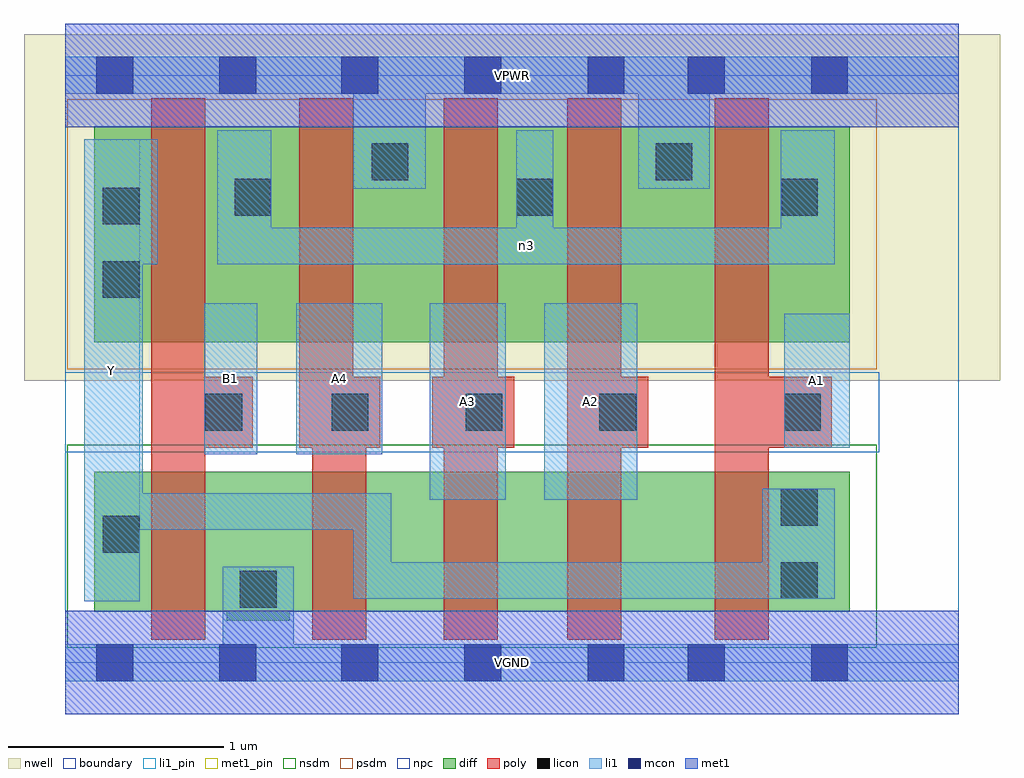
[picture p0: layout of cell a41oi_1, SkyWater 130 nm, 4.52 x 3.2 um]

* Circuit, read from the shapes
.subckt a41oi_1 A1 A2 A3 A4 B1 VGND VPWR Y n3
XM1 VGND B1 Y VSUBS sky130_fd_pr__nfet_01v8 w=0.65 l=0.25
XM2 n1 A4 VGND VSUBS sky130_fd_pr__nfet_01v8 w=0.65 l=0.25
XM3 n2 A3 n1 VSUBS sky130_fd_pr__nfet_01v8 w=0.65 l=0.25
XM4 n4 A2 n2 VSUBS sky130_fd_pr__nfet_01v8 w=0.65 l=0.25
XM5 Y A1 n4 VSUBS sky130_fd_pr__nfet_01v8 w=0.65 l=0.25
XM6 n3 B1 Y n5 sky130_fd_pr__pfet_01v8 w=1 l=0.25
XM7 VPWR A4 n3 n5 sky130_fd_pr__pfet_01v8 w=1 l=0.25
XM8 n3 A3 VPWR n5 sky130_fd_pr__pfet_01v8 w=1 l=0.25
XM9 VPWR A2 n3 n5 sky130_fd_pr__pfet_01v8 w=1 l=0.25
XM10 n3 A1 VPWR n5 sky130_fd_pr__pfet_01v8 w=1 l=0.25
.ends

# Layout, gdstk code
import gdstk
lib = gdstk.Library(unit=1e-6, precision=1e-09)
def R(c, l, rs):  # rectangles x0, y0, x1, y1
    for r in rs: c.add(gdstk.rectangle(r[:2], r[2:], *l))
def A(c, l, x, y, w, h, nx, ny, dx, dy):  # array of equal rectangles
    R(c, l, [(x+i*dx, y+j*dy, x+i*dx+w, y+j*dy+h) for i in range(nx) for j in range(ny)])
nwell = (64, 20)
diff = (65, 20)
poly = (66, 20)
licon = (66, 44)
li1_pin = (67, 16)
li1 = (67, 20)
mcon = (67, 44)
met1_pin = (68, 16)
met1 = (68, 20)
nsdm = (93, 44)
psdm = (94, 20)
npc = (95, 20)
boundary = (235, 4)

a41oi_1 = lib.new_cell('a41oi_1')
R(a41oi_1, nwell, [(-0.19,1.305,4.33,2.91), (0,1.305,4.14,2.91)])
R(a41oi_1, diff, [(0.75,0.195,1.04,0.885), (0.135,0.235,3.635,0.885), (0.135,1.485,3.635,2.485)])
R(a41oi_1, poly, [(0.4,0.105,0.65,2.615), (1.145,0.105,1.395,1.325), (1.755,0.105,2.005,2.615), (2.325,0.105,2.575,2.615), (3.01,0.105,3.26,2.615), (0.4,0.995,0.87,1.325), (1.085,0.995,1.335,2.615), (1.085,0.995,1.46,1.325), (1.7,0.995,2.08,1.325), (2.325,0.995,2.7,1.325), (3.01,0.995,3.55,1.325)])
A(a41oi_1, licon, 1.235, 1.075, 0.17, 0.17, 3, 1, 0.62, 0)
R(a41oi_1, licon, [(0.81,0.255,0.98,0.425), (3.315,0.295,3.485,0.465), (0.175,0.51,0.345,0.68), (3.315,0.635,3.485,0.805), (0.65,1.075,0.82,1.245), (3.33,1.075,3.5,1.245), (0.175,1.69,0.345,1.86), (0.175,2.03,0.345,2.2), (0.785,2.07,0.955,2.24), (2.09,2.07,2.26,2.24), (3.315,2.07,3.485,2.24), (1.42,2.235,1.59,2.405), (2.735,2.235,2.905,2.405)])
R(a41oi_1, li1_pin, [(0.09,0.285,0.345,2.425), (1.69,0.755,2.04,1.665), (2.22,0.755,2.65,1.665), (0.645,0.965,0.89,1.665), (1.07,0.965,1.47,1.665), (3.33,0.995,3.635,1.615)])
R(a41oi_1, li1, [(0,-0.085,4.14,0.085), (0.73,-0.085,1.06,0.445), (0.09,0.285,0.345,2.425), (1.335,0.295,3.565,0.465), (1.335,0.295,1.51,0.785), (3.23,0.295,3.565,0.805), (0.09,0.615,1.51,0.785), (0.09,0.615,0.36,2.425), (1.69,0.755,2.04,1.665), (2.22,0.755,2.65,1.665), (0.645,0.965,0.89,1.665), (1.07,0.965,1.47,1.665), (3.33,0.995,3.635,1.615), (0.09,1.845,0.43,2.425), (0.705,1.845,3.565,2.015), (0.705,1.845,0.955,2.465), (2.09,1.845,2.26,2.465), (3.315,1.845,3.565,2.465), (1.335,2.195,1.67,2.805), (2.655,2.195,2.985,2.805), (0,2.635,4.14,2.805)])
A(a41oi_1, mcon, 1.28, -0.085, 0.17, 0.17, 3, 2, 0.57, 2.72)
R(a41oi_1, mcon, [(0.145,-0.085,0.315,0.085), (0.715,-0.085,0.885,0.085), (2.885,-0.085,3.055,0.085), (3.455,-0.085,3.625,0.085), (0.145,2.635,0.315,2.805), (0.715,2.635,0.885,2.805), (2.885,2.635,3.055,2.805), (3.455,2.635,3.625,2.805)])
R(a41oi_1, met1_pin, [(0,-0.24,4.14,0.24), (0,2.48,4.14,2.96)])
R(a41oi_1, met1, [(0,-0.24,4.14,0.24), (0,2.48,4.14,2.96)])
R(a41oi_1, nsdm, [(0.01,0.07,3.76,1.01)])
R(a41oi_1, psdm, [(0.01,1.36,3.76,2.61)])
R(a41oi_1, npc, [(0,0.975,3.77,1.345)])
R(a41oi_1, boundary, [(0,0,4.14,2.72)])
a41oi_1.add(gdstk.Label('A1', (3.482,1.305), layer=67, texttype=5))
a41oi_1.add(gdstk.Label('A2', (2.435,1.21), layer=67, texttype=5))
a41oi_1.add(gdstk.Label('A3', (1.865,1.21), layer=67, texttype=5))
a41oi_1.add(gdstk.Label('A4', (1.27,1.315), layer=67, texttype=5))
a41oi_1.add(gdstk.Label('B1', (0.767,1.315), layer=67, texttype=5))
a41oi_1.add(gdstk.Label('Y', (0.217,1.355), layer=67, texttype=5))
a41oi_1.add(gdstk.Label('n3', (2.135,1.93), layer=67, texttype=5))
a41oi_1.add(gdstk.Label('VPWR', (2.07,2.72), layer=68, texttype=5))
a41oi_1.add(gdstk.Label('VGND', (2.07,0), layer=68, texttype=5))
a41oi_1.add(gdstk.Label('A1', (3.482,1.305), layer=67, texttype=16))
a41oi_1.add(gdstk.Label('A2', (2.435,1.21), layer=67, texttype=16))
a41oi_1.add(gdstk.Label('A3', (1.865,1.21), layer=67, texttype=16))
a41oi_1.add(gdstk.Label('A4', (1.27,1.315), layer=67, texttype=16))
a41oi_1.add(gdstk.Label('B1', (0.767,1.315), layer=67, texttype=16))
a41oi_1.add(gdstk.Label('Y', (0.217,1.355), layer=67, texttype=16))
a41oi_1.add(gdstk.Label('VPWR', (2.07,2.72), layer=68, texttype=16))
a41oi_1.add(gdstk.Label('VGND', (2.07,0), layer=68, texttype=16))

lib.write_gds('a41oi_1.gds')
